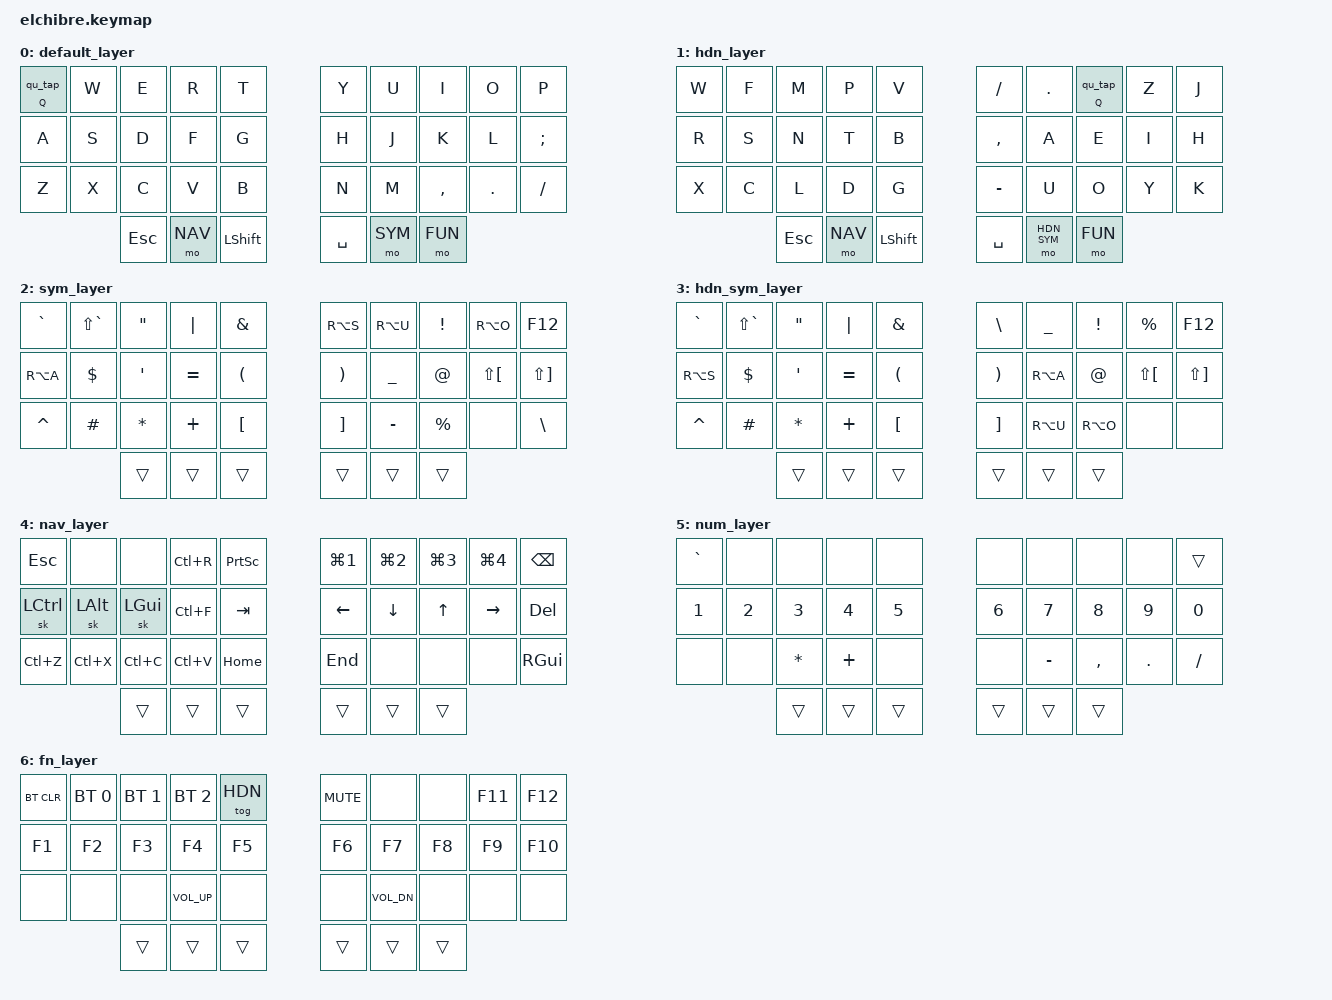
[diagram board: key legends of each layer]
/*
 * Copyright (c) 2022 The ZMK Contributors
 *
 * SPDX-License-Identifier: MIT
 */

#include <behaviors.dtsi>
#include <dt-bindings/zmk/keys.h>
#include <dt-bindings/zmk/bt.h>
#define DEFAULT 0
#define HDN     1
#define SYM     2
#define HDN_SYM 3
#define NAV     4
#define NUM     5
#define FUN     6

/ {
    behaviors {
        ht: hold_tap {
            compatible = "zmk,behavior-hold-tap";
            #binding-cells = <2>;
            flavor = "balanced";
            tapping-term-ms = <200>;
            quick-tap-ms = <220>;
            require-prior-idle-ms = <125>;
            bindings = <&kp>, <&kp>;
        };
        mt: mod_tap {
            #binding-cells = <2>;
            tapping-term-ms = <200>;
            quick-tap-ms = <220>;
            require-prior-idle-ms = <125>;
            bindings = <&kp>, <&kp>;
        };
        as_ht: autoshift_hold_tap {
            compatible = "zmk,behavior-hold-tap";
            #binding-cells = <2>;
            tapping-term-ms = <200>;
            bindings = <&shifted>, <&kp>;
            flavor = "tap-preferred";
        };
        qu_morph: qu_morph {
            // GUI/Ctrl/Alt + Q -> plain Q (keep WM/app shortcuts), else -> qu macro
            compatible = "zmk,behavior-mod-morph";
            #binding-cells = <0>;
            bindings = <&qu_macro>, <&kp Q>;
            mods = <(MOD_LGUI|MOD_RGUI|MOD_LCTL|MOD_RCTL|MOD_LALT|MOD_RALT)>;
        };
        qu: qu {
            // tap -> qu_morph (qu/Qu), hold -> q
            compatible = "zmk,behavior-hold-tap";
            #binding-cells = <2>;
            flavor = "tap-preferred";
            tapping-term-ms = <200>;
            quick-tap-ms = <220>;
            bindings = <&kp>, <&qu_tap>;
        };

        combos {
            compatible = "zmk,combos";
            combo_enter {
                timeout-ms = <50>;
                key-positions = <18 19>;
                bindings = <&kp ENTER>;
            };
            combo_reset {
                timeout-ms = <50>;
                key-positions = <0 9>;
                layers = <SYM HDN_SYM>;
                bindings = <&sys_reset>;
            };
            combo_boot {
                timeout-ms = <50>;
                key-positions = <5 20>;
                layers = <SYM HDN_SYM>;
                bindings = <&bootloader>;
            };
        };
        conditional_layers {
            compatible = "zmk,conditional-layers";
            tri_layer {
                if-layers = <SYM NAV>;
                then-layer = <NUM>;
            };
            tri_layer_hdn {
                if-layers = <HDN_SYM NAV>;
                then-layer = <NUM>;
            };
        };
    };

    macros {
        qu_macro: qu_macro {
            // types "qu"; with Shift held types "Qu" (Shift dropped after the Q)
            compatible = "zmk,behavior-macro";
            #binding-cells = <0>;
            bindings
              = <&macro_tap &kp Q>
              , <&macro_release &kp LSHFT>
              , <&macro_release &kp RSHFT>
              , <&macro_tap &kp U>;
        };
        qu_tap: qu_tap {
            // 1-param wrapper so the qu hold-tap can call qu_morph (param ignored)
            compatible = "zmk,behavior-macro-one-param";
            #binding-cells = <1>;
            bindings = <&qu_morph>;
        };
        shifted: macro_shifted_kp {
            #binding-cells = <1>;
            compatible = "zmk,behavior-macro-one-param";
            bindings =
              <&macro_press &kp LSHFT>,
              <&macro_param_1to1 &macro_tap &kp MACRO_PLACEHOLDER>,
              <&macro_release &kp LSHFT>;
        };
        as: autoshift {
            compatible = "zmk,behavior-macro-one-param";
            #binding-cells = <1>;
            bindings =
              <&macro_press>,
              <&macro_param_1to1>,
              <&macro_param_1to2>,
              <&as_ht MACRO_PLACEHOLDER MACRO_PLACEHOLDER>,
              <&macro_pause_for_release>,
              <&macro_release>,
              <&macro_param_1to1>,
              <&macro_param_1to2>,
              <&as_ht MACRO_PLACEHOLDER MACRO_PLACEHOLDER>;
        };
    };

    keymap {
        compatible = "zmk,keymap";
        default_layer {
            bindings = <
        //╭──────────┬──────────┬──────────┬──────────┬──────────╮                      ╭──────────┬──────────┬──────────┬──────────┬──────────╮
        //│  Qu      │  W       │  E       │  R       │  T       │                      │  Y       │  U       │  I       │  O       │   P      │
            &qu Q 0    &kp W      &kp E      &kp R      &kp T                             &kp Y      &kp U      &kp I      &kp O      &kp P
        //├──────────┼──────────┼──────────┼──────────┼──────────┤                      ├──────────┼──────────┼──────────┼──────────┼──────────┤
        //│  A       │  S       │  D       │  F       │  G       │                      │  H       │  J       │  K       │  L       │ ; :      │
            &kp A      &kp S      &kp D      &kp F      &kp G                             &kp H      &kp J      &kp K      &kp L      &kp SEMI
        //├──────────┼──────────┼──────────┼──────────┼──────────┤                      ├──────────┼──────────┼──────────┼──────────┼──────────┤
        //│  Z       │  X       │  C       │  V       │  B       │                      │  N       │  M       │ , <      │ . >      │ / ?      │
            &kp Z      &kp X      &kp C      &kp V      &kp B                             &kp N      &kp M      &kp COMMA  &kp DOT    &kp FSLH
        //╰──────────┴──────────┴──────────┼──────────┼──────────╯                      ╰──────────┼──────────┼──────────┴──────────┴──────────╯
                                            &kp ESC  &mo NAV  &kp LSHIFT                &kp SPACE  &mo SYM &mo FUN
        //                                 ╰──────────┴──────────╯                      ╰──────────┴──────────╯
            >;
        };
        hdn_layer {
            bindings = <
        //╭──────────┬──────────┬──────────┬──────────┬──────────╮                      ╭──────────┬──────────┬──────────┬──────────┬──────────╮
        //│  W       │  F       │  M       │  P       │  V       │                      │  /       │  .       │  Qu      │  Z       │   J      │
            &kp W      &kp F      &kp M      &kp P      &kp V                             &kp FSLH   &kp DOT    &qu Q 0    &kp Z      &kp J
        //├──────────┼──────────┼──────────┼──────────┼──────────┤                      ├──────────┼──────────┼──────────┼──────────┼──────────┤
        //│  R       │  S       │  N       │  T       │  B       │                      │  ,       │  A       │  E       │  I       │  H       │
            &kp R      &kp S      &kp N      &kp T      &kp B                             &kp COMMA  &kp A      &kp E      &kp I      &kp H
        //├──────────┼──────────┼──────────┼──────────┼──────────┤                      ├──────────┼──────────┼──────────┼──────────┼──────────┤
        //│  X       │  C       │  L       │  D       │  G       │                      │  -       │  U       │  O       │  Y       │  K       │
            &kp X      &kp C      &kp L      &kp D      &kp G                             &kp MINUS  &kp U      &kp O      &kp Y      &kp K
        //╰──────────┴──────────┴──────────┼──────────┼──────────╯                      ╰──────────┼──────────┼──────────┴──────────┴──────────╯
                                            &kp ESC  &mo NAV  &kp LSHIFT                &kp SPACE  &mo HDN_SYM &mo FUN
        //                                 ╰──────────┴──────────╯                      ╰──────────┴──────────╯
            >;
        };
        sym_layer {
            bindings = <
        //╭──────────┬──────────┬──────────┬──────────┬──────────╮      ╭──────────┬──────────┬──────────┬──────────┬──────────╮
        //│  ~       │  `       │  "       │    |     │    &     │      │  ß       │ ü        │ !        │  ö       │  F12     │
            &kp GRAVE &kp LS(GRAVE) &kp DQT &kp PIPE  &kp AMPS          &kp RA(S)   &kp RA(U)   &kp EXCLAMATION &kp RA(O) &kp F12
        //├──────────┼──────────┼──────────┼──────────┼──────────┤      ├──────────┼──────────┼──────────┼──────────┼──────────┤
        //│  ä       │  $       │ '        │  =       │  (       │      │  )       │  _       │  @       │  {       │  }       │
            &kp RA(A) &kp DOLLAR &kp APOS  &kp EQUAL  &kp LPAR          &kp RPAR   &kp UNDER  &kp AT     &kp LS(LEFT_BRACKET) &kp LS(RIGHT_BRACKET)
        //├──────────┼──────────┼──────────┼──────────┼──────────┤      ├──────────┼──────────┼──────────┼──────────┼──────────┤
        //│  ^       │ #        │  *       │  +       │ [        │      │  ]       │   -      │ %        │          │ \        │
            &kp CARET &kp HASH  &kp STAR   &kp PLUS   &kp LEFT_BRACKET  &kp RIGHT_BRACKET &kp MINUS &kp PERCENT &none &kp BACKSLASH
        //╰──────────┴──────────┴──────────┼──────────┼──────────╯      ╰──────────┼──────────┼──────────┴──────────┴──────────╯
                                            &trans     &trans     &trans  &trans     &trans     &trans
        //                                 ╰──────────┴──────────╯      ╰──────────┴──────────╯
            >;
        };
        hdn_sym_layer {
            bindings = <
        //╭──────────┬──────────┬──────────┬──────────┬──────────╮      ╭──────────┬──────────┬──────────┬──────────┬──────────╮
        //│  `       │  ~       │  "       │    |     │    &     │      │  \       │ _        │ !        │  %       │  F12     │
            &kp GRAVE &kp LS(GRAVE) &kp DQT &kp PIPE  &kp AMPS          &kp BACKSLASH &kp UNDER &kp EXCLAMATION &kp PERCENT &kp F12
        //├──────────┼──────────┼──────────┼──────────┼──────────┤      ├──────────┼──────────┼──────────┼──────────┼──────────┤
        //│  ß       │  $       │ '        │  =       │  (       │      │  )       │  ä       │  @       │  {       │  }       │
            &kp RA(S) &kp DOLLAR &kp APOS  &kp EQUAL  &kp LPAR          &kp RPAR   &kp RA(A)  &kp AT     &kp LS(LEFT_BRACKET) &kp LS(RIGHT_BRACKET)
        //├──────────┼──────────┼──────────┼──────────┼──────────┤      ├──────────┼──────────┼──────────┼──────────┼──────────┤
        //│  ^       │ #        │  *       │  +       │ [        │      │  ]       │  ü       │ ö        │          │          │
            &kp CARET &kp HASH  &kp STAR   &kp PLUS   &kp LEFT_BRACKET  &kp RIGHT_BRACKET &kp RA(U) &kp RA(O) &none &none
        //╰──────────┴──────────┴──────────┼──────────┼──────────╯      ╰──────────┼──────────┼──────────┴──────────┴──────────╯
                                            &trans     &trans     &trans  &trans     &trans     &trans
        //                                 ╰──────────┴──────────╯      ╰──────────┴──────────╯
            >;
        };
        nav_layer {
            bindings = <
        //╭──────────┬──────────┬──────────┬──────────┬──────────╮      ╭──────────┬──────────┬──────────┬──────────┬──────────╮
        //│  ESC     │          │          │ CTRL+R   │PRINTSCREEN      │  WS 1    │ WS 2     │  WS 3    │ WS 4     │BACKSPACE │
            &kp ESC   &none      &none      &kp LC(R)  &kp PSCRN         &kp LG(N1) &kp LG(N2) &kp LG(N3) &kp LG(N4) &kp BACKSPACE
        //├──────────┼──────────┼──────────┼──────────┼──────────┤      ├──────────┼──────────┼──────────┼──────────┼──────────┤
        //│  LCTRL   │  LALT    │ LGUI     │ CTRL+F   │  TAB     │      │  LEFT    │  DOWN    │  UP      │  RIGHT   │  DEL     │
            &sk LCTRL  &sk LALT   &sk LGUI   &kp LC(F)  &kp TAB          &kp LEFT   &kp DOWN   &kp UP     &kp RIGHT  &kp DEL
        //├──────────┼──────────┼──────────┼──────────┼──────────┤      ├──────────┼──────────┼──────────┼──────────┼──────────┤
        //│ CTRL+Z   │ CTRL+X   │ CTRL+C   │ CTRL+V   │  HOME    │      │  END     │          │          │          │  RGUI    │
            &kp LC(Z)  &kp LC(X)  &kp LC(C)  &kp LC(V)  &kp HOME         &kp END    &none      &none      &none      &kp RGUI
        //╰──────────┴──────────┴──────────┼──────────┼──────────╯      ╰──────────┼──────────┼──────────┴──────────┴──────────╯
                                            &trans     &trans     &trans  &trans     &trans     &trans
        //                                 ╰──────────┴──────────╯      ╰──────────┴──────────╯
            >;
        };
        num_layer {
            bindings = <
        //╭──────────┬──────────┬──────────┬──────────┬──────────╮      ╭──────────┬──────────┬──────────┬──────────┬──────────╮
        //│  ` ~     │          │          │          │          │      │          │          │          │          │          │
            &kp GRAVE  &none      &none      &none      &none             &none      &none      &none      &none      &trans
        //├──────────┼──────────┼──────────┼──────────┼──────────┤      ├──────────┼──────────┼──────────┼──────────┼──────────┤
        //│  1 !     │  2 @     │  3 #     │  4 $     │  5 %     │      │  6 ^     │  7 &     │  8 *     │  9 (     │  0 )     │
            &kp N1     &kp N2     &kp N3     &kp N4     &kp N5            &kp N6     &kp N7     &kp N8     &kp N9     &kp N0
        //├──────────┼──────────┼──────────┼──────────┼──────────┤      ├──────────┼──────────┼──────────┼──────────┼──────────┤
        //│          │          │   *      │   +      │          │      │          │   -      │ ,        │ .        │ /        │
            &none      &none      &kp STAR   &kp PLUS   &none             &none      &kp MINUS  &kp COMMA  &kp DOT    &kp FSLH
        //╰──────────┴──────────┴──────────┼──────────┼──────────╯      ╰──────────┼──────────┼──────────┴──────────┴──────────╯
                                            &trans     &trans     &trans  &trans     &trans     &trans
        //                                 ╰──────────┴──────────╯      ╰──────────┴──────────╯
            >;
        };
        fn_layer {
            bindings = <
        //╭──────────┬──────────┬──────────┬──────────┬──────────╮      ╭──────────┬──────────┬──────────┬──────────┬──────────╮
        //│ BT CLEAR │ BT SEL 0 │ BT SEL 1 │ BT SEL 2 │ HDN TOGGLE      │  MUTE    │          │          │  F11     │  F12     │
            &bt BT_CLR &bt BT_SEL 0 &bt BT_SEL 1 &bt BT_SEL 2 &tog HDN  &kp C_MUTE &none      &none      &kp F11    &kp F12
        //├──────────┼──────────┼──────────┼──────────┼──────────┤      ├──────────┼──────────┼──────────┼──────────┼──────────┤
        //│  F1      │  F2      │  F3      │  F4      │  F5      │      │  F6      │  F7      │  F8      │  F9      │  F10     │
            &kp F1     &kp F2     &kp F3     &kp F4     &kp F5            &kp F6     &kp F7     &kp F8     &kp F9     &kp F10
        //├──────────┼──────────┼──────────┼──────────┼──────────┤      ├──────────┼──────────┼──────────┼──────────┼──────────┤
        //│          │          │          │  VOL UP  │          │      │          │  VOL DN  │          │          │          │
            &none      &none      &none      &kp C_VOL_UP &none           &none      &kp C_VOL_DN &none    &none      &none
        //╰──────────┴──────────┴──────────┼──────────┼──────────╯      ╰──────────┼──────────┼──────────┴──────────┴──────────╯
                                            &trans     &trans     &trans  &trans     &trans     &trans
        //                                 ╰──────────┴──────────╯      ╰──────────┴──────────╯
            >;
        };
    };
};
